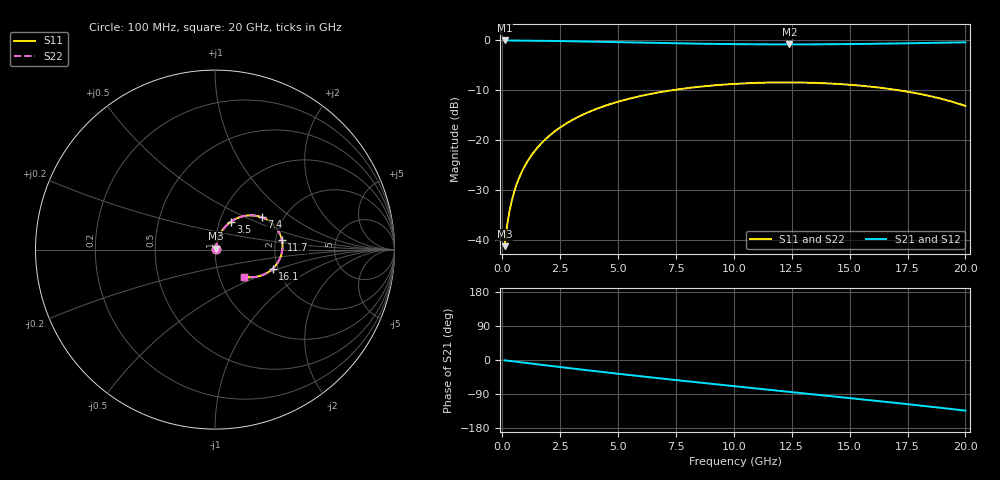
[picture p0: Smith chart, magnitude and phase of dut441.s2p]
! Touchstone file exported from HFSS 2026.1.0
!  File:  C:/ffzhzh/LocalFiles/Ansys_Project_Files/temp_train_TSV_RDL_441_1783098430_35180.aedt
!  Generated:  01:17:17 AM Jul  4, 2026
!  Design:  TSV_RDL
!  Project:  temp_train_TSV_RDL_441_1783098430_35180
! Variables:
!  h_bsmrdl = 5.08um
!  h_ox = 20um
!  h_rdl = 5um
!  h_sub = 78.9um
!  h_tmrdl = 5.29um
!  h_tsv = 78.9um
!  h_via = 3um
!  l_bsmrdl = 170.33um
!  l_sub = 2155.35um
!  l_tmrdl = 277.4um
!  m_sub = 200um
!  pitch = 50.73um
!  r_tsv = 13.55um
!  s_tmrdl = 10um
!  w_bsmrdl = 22.44um
!  w_sub = 500um
!  w_tmrdl = 22.48um
!  x_tsv_center1 = 288.64um
!  x_tsv_center2 = 481.41um
!  x_tsv_center3 = 781.29um
!  x_tsv_center4 = 974.06um
!  x_tsv_center5 = 1273.94um
!  x_tsv_center6 = 1466.71um
# GHz S MA R 50.000000
! Terminal data exported
! Port[1] = TM_RDL1_1_T1
! Port[2] = TM_RDL5_1_T1
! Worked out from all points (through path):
!   200 points, 100 MHz to 20 GHz, reference 50 ohm
!   highest |S21| = -0.05 dB at 100 MHz (marker M1); lowest = -0.8 dB at 12.4 GHz (marker M2)
!   group delay of S21, straight-line fit = 18.1 ps
!   lowest |S11| = -41.3 dB at 100 MHz (marker M3), VSWR 1.02, Z = 50.6 + j0.609 ohm
!   |S11| at or under -10 dB: start of sweep to 7.389 GHz; 17.06 GHz to end of sweep
!   |S22| runs from -41.3 to -8.5 dB; largest |S21 - S12| = 4e-14
!   S11 on the Smith chart (normalised r, x): 100 MHz: 1.01, +0.01; 3.5 GHz: 1.13, +0.37; 7.4 GHz: 1.55, +0.62; 11.7 GHz: 2.16, +0.28; 16.1 GHz: 1.87, -0.45; 20 GHz: 1.31, -0.41
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0.1  0.008581 44.5  0.9939 -0.8  0.9939 -0.8  0.008581 44.5
! Gamma 0 0 0 0
! Port Impedance 50 0 50 0
0.2  0.01347 60.0  0.9935 -1.6  0.9935 -1.6  0.01347 60.0
0.3  0.0187 66.6  0.9931 -2.3  0.9931 -2.3  0.0187 66.6
0.4  0.02402 70.1  0.9928 -3.1  0.9928 -3.1  0.02402 70.1
0.5  0.02938 72.0  0.9924 -3.8  0.9924 -3.8  0.02938 72.0
0.8  0.04547 74.1  0.9912 -6.1  0.9912 -6.1  0.04547 74.1
1.1  0.0615 73.9  0.9898 -8.3  0.9898 -8.3  0.0615 73.9
1.5  0.08261 72.4  0.9876 -11.3  0.9876 -11.3  0.08261 72.4
2.1  0.1134 69.2  0.9834 -15.7  0.9834 -15.7  0.1134 69.2
2.7  0.143 65.4  0.9784 -20.1  0.9784 -20.1  0.143 65.4
3.5  0.18 60.1  0.9708 -25.8  0.9708 -25.8  0.18 60.1
5  0.2415 50.2  0.9552 -36.3  0.9552 -36.3  0.2415 50.2
6.8  0.3005 38.6  0.9368 -48.4  0.9368 -48.4  0.3005 38.6
7.4  0.3165 34.8  0.9312 -52.3  0.9312 -52.3  0.3165 34.8
10.1  0.3653 18.1  0.9126 -69.6  0.9126 -69.6  0.3652 18.1
11.7  0.3763 8.4  0.9078 -79.6  0.9078 -79.6  0.3763 8.4
12.4  0.377 4.2  0.9074 -83.9  0.9074 -83.9  0.377 4.2
13.4  0.3736 -1.9  0.9085 -90.2  0.9085 -90.2  0.3736 -1.9
16.1  0.3382 -18.4  0.9208 -107.3  0.9208 -107.3  0.3382 -18.4
16.7  0.3251 -22.2  0.925 -111.2  0.925 -111.2  0.3251 -22.2
18.5  0.2741 -33.6  0.9395 -123.2  0.9395 -123.2  0.2741 -33.6
20  0.219 -43.3  0.952 -133.6  0.952 -133.6  0.2189 -43.3
